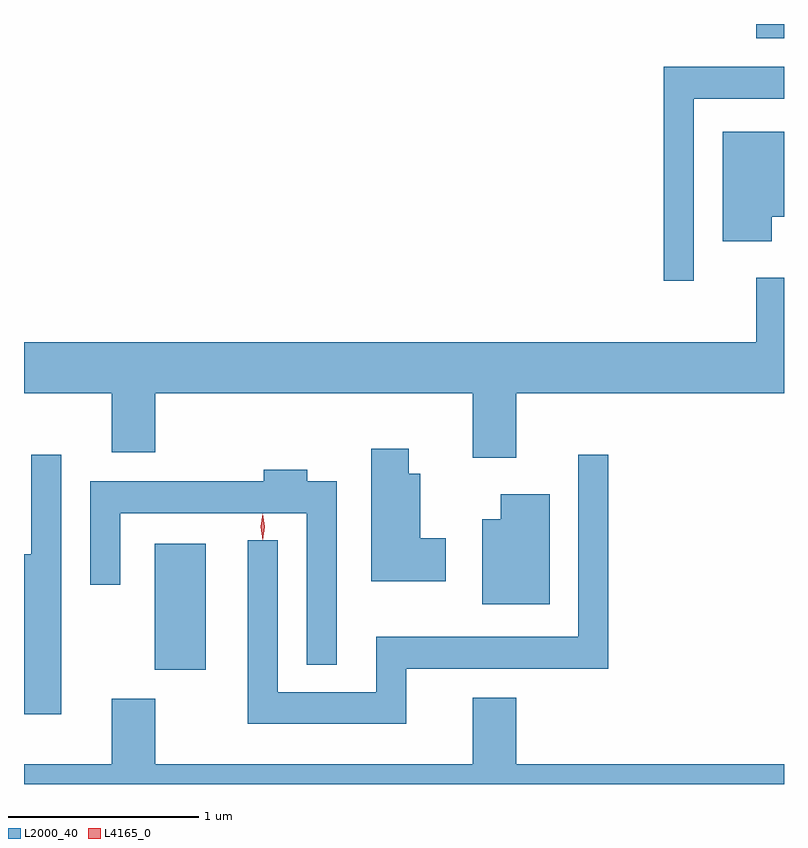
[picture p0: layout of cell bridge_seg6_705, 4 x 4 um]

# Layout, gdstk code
import gdstk
lib = gdstk.Library(unit=1e-6, precision=1e-09)
def R(c, l, rs):  # rectangles x0, y0, x1, y1
    for r in rs: c.add(gdstk.rectangle(r[:2], r[2:], *l))
def P(c, l, *ps):  # polygons
    for p in ps: c.add(gdstk.Polygon(p, *l))
L2000_40 = (2000, 40)
L4165_0 = (4165, 0)

bridge_seg6_705 = lib.new_cell('bridge_seg6_705')
R(bridge_seg6_705, L2000_40, [(509.046,1537.481,509.314,1538.144), (512.211,1540.806,512.358,1540.88)])
P(bridge_seg6_705, L2000_40, [(511.884,1540.486),(512.358,1540.486),(512.358,1540.654),(511.726,1540.654),(511.726,1539.528),(511.884,1539.528)],
  [(512.294,1539.866),(512.358,1539.866),(512.358,1540.314),(512.036,1540.314),(512.036,1539.736),(512.294,1539.736)],
  [(510.949,1538.936),(512.358,1538.936),(512.358,1539.544),(512.211,1539.544),(512.211,1539.204),(508.358,1539.204),(508.358,1538.936),(508.821,1538.936),(508.821,1538.626),(509.049,1538.626),(509.049,1538.936),(510.721,1538.936),(510.721,1538.596),(510.949,1538.596)],
  [(510.579,1538.174),(510.444,1538.174),(510.444,1538.514),(510.384,1538.514),(510.384,1538.644),(510.186,1538.644),(510.186,1537.946),(510.579,1537.946)],
  [(510.369,1537.486),(511.434,1537.486),(511.434,1538.613),(511.276,1538.613),(511.276,1537.654),(510.211,1537.654),(510.211,1537.364),(509.694,1537.364),(509.694,1538.163),(509.536,1538.163),(509.536,1537.196),(510.369,1537.196)],
  [(508.554,1538.613),(508.396,1538.613),(508.396,1538.089),(508.358,1538.089),(508.358,1537.246),(508.554,1537.246)],
  [(510.004,1538.474),(509.849,1538.474),(509.849,1538.534),(509.621,1538.534),(509.621,1538.474),(508.706,1538.474),(508.706,1537.928),(508.864,1537.928),(508.864,1538.306),(509.846,1538.306),(509.846,1537.508),(510.004,1537.508)],
  [(511.124,1538.404),(510.866,1538.404),(510.866,1538.274),(510.771,1538.274),(510.771,1537.826),(511.124,1537.826)],
  [(512.358,1536.984),(510.949,1536.984),(510.949,1537.334),(510.721,1537.334),(510.721,1536.984),(509.049,1536.984),(509.049,1537.329),(508.821,1537.329),(508.821,1536.984),(508.358,1536.984),(508.358,1536.88),(512.358,1536.88)])
P(bridge_seg6_705, L4165_0, [(509.614,1538.164),(509.605,1538.233),(509.614,1538.302),(509.615,1538.303),(509.615,1538.302),(509.625,1538.233),(509.615,1538.164),(509.615,1538.164)],
  [(509.614,1538.167),(509.605,1538.234),(509.614,1538.3),(509.615,1538.3),(509.615,1538.3),(509.625,1538.234),(509.615,1538.167),(509.615,1538.167)])

lib.write_gds('bridge_seg6_705.gds')
